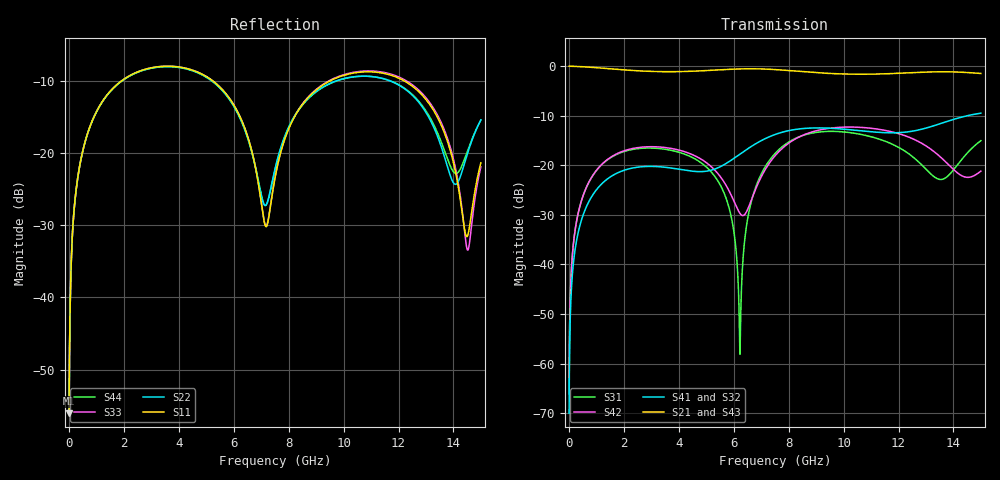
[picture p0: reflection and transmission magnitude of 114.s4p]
! Created with skrf 1.8.0 (http://scikit-rf.org).
# GHz S RI R 50.0
!freq ReS11 ImS11 ReS12 ImS12 ReS13 ImS13
! ReS14 ImS14
! ReS21 ImS21 ReS22 ImS22 ReS23 ImS23
! ReS24 ImS24
! ReS31 ImS31 ReS32 ImS32 ReS33 ImS33
! ReS34 ImS34
! ReS41 ImS41 ReS42 ImS42 ReS43 ImS43
! ReS44 ImS44
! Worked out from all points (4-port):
!   2499 points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, 5 MHz to 15 GHz, reference 50 ohm
!   strongest paths, dB at 5 MHz, 3.476 GHz, 7.19 GHz, 11.1 GHz, 15 GHz:
!     S21: 0.0, -1.1, -0.6, -1.6, -1.5
!     S43: 0.0, -1.1, -0.6, -1.6, -1.5
!     S41: -70.0, -20.4, -14.5, -13.3, -9.5
!     S32: -70.0, -20.4, -14.5, -13.5, -9.5
!     S42: -66.1, -16.4, -20.5, -12.6, -21.2
!     S31: -66.1, -16.8, -19.9, -14.4, -15.0
!   lowest |S11| = -56.0 dB at 5 MHz (marker M1), VSWR 1.00, Z = 50.1 + j0.0959 ohm
!   |S11| at or under -10 dB: start of sweep to 1.933 GHz; 5.216 GHz to 9.533 GHz (4.317 GHz wide, 58.5 % of centre); 12.19 GHz to end of sweep
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0.005  0.00126 0.000957  0.9987 -0.00245  6.19e-05 0.000494  -6.02e-05 -0.000309
       0.9987 -0.00245  0.00126 0.000957  -6.02e-05 -0.000309  6.2e-05 0.000493
       6.19e-05 0.000494  -6.02e-05 -0.000309  0.00126 0.000957  0.9987 -0.00245
       -6.02e-05 -0.000309  6.2e-05 0.000493  0.9987 -0.00245  0.00126 0.000957
0.3626511  0.0192 0.0735  0.9737 -0.1772  0.00847 0.0344  -0.00726 -0.0214
           0.9737 -0.1772  0.0191 0.0735  -0.00725 -0.0214  0.00895 0.0343
           0.00847 0.0344  -0.00725 -0.0214  0.0192 0.0735  0.9737 -0.1772
           -0.00726 -0.0214  0.00895 0.0343  0.9737 -0.1772  0.0191 0.0735
1.875782  0.2476 0.1872  0.599 -0.7007  0.1136 0.0705  -0.0852 -0.0141
          0.599 -0.7007  0.2456 0.1883  -0.085 -0.0143  0.1206 0.0621
          0.1136 0.0705  -0.085 -0.0143  0.2478 0.1871  0.599 -0.7007
          -0.0852 -0.0141  0.1206 0.0621  0.599 -0.7007  0.2455 0.1884
5.277199  0.2436 -0.1913  -0.5535 -0.7229  0.061 -0.0509  -0.0498 0.076
          -0.5535 -0.7229  0.2477 -0.1803  -0.0512 0.0742  0.0383 -0.0829
          0.061 -0.0509  -0.0512 0.0742  0.2439 -0.1922  -0.5534 -0.7227
          -0.0498 0.076  0.0383 -0.0829  -0.5534 -0.7227  0.2483 -0.18
6.227595  0.0916 -0.1521  -0.8257 -0.4425  0.00107 0.000626  -0.0559 0.1169
          -0.8257 -0.4425  0.1003 -0.142  -0.0588 0.1154  -0.0273 -0.018
          0.00107 0.000626  -0.0588 0.1154  0.0916 -0.1528  -0.8257 -0.4424
          -0.0559 0.1169  -0.0273 -0.018  -0.8257 -0.4424  0.101 -0.1424
7.109212  0.0299 -0.0149  -0.932 -0.0716  0.00817 0.0925  -0.00832 0.1834
          -0.932 -0.0716  0.0427 -0.00976  -0.0125 0.1831  -0.00977 0.0863
          0.00817 0.0925  -0.0125 0.1831  0.0301 -0.015  -0.9319 -0.0714
          -0.00832 0.1834  -0.00977 0.0863  -0.9319 -0.0714  0.0427 -0.0106
15  0.0508 0.0686  0.8333 -0.1263  0.1507 0.0931  -0.0803 -0.3253
    0.8333 -0.1263  0.1173 0.1218  -0.0614 -0.3291  -0.00931 0.0868
    0.1507 0.0931  -0.0614 -0.3291  0.0454 0.066  0.8335 -0.1267
    -0.0803 -0.3253  -0.00931 0.0868  0.8335 -0.1267  0.1251 0.1128
